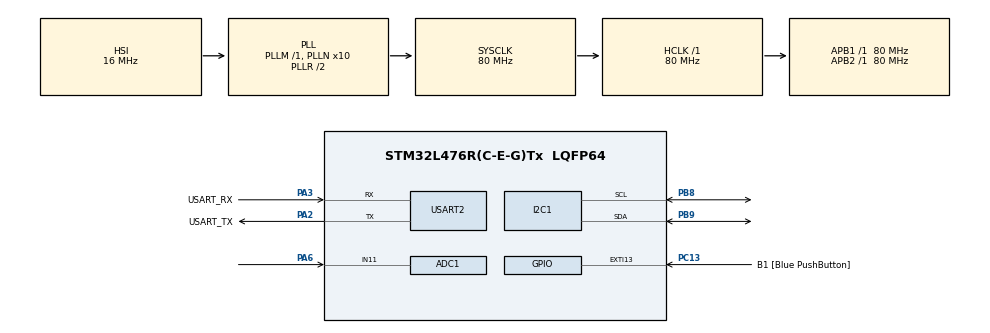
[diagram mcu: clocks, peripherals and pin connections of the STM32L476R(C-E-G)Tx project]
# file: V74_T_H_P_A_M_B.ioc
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ADC1.Channel-0\#ChannelRegularConversion=ADC_CHANNEL_11
ADC1.ContinuousConvMode=ENABLE
ADC1.NbrOfConversion=1
ADC1.NbrOfConversionFlag=1
ADC1.OffsetNumber-0\#ChannelRegularConversion=ADC_OFFSET_NONE
ADC1.Rank-0\#ChannelRegularConversion=1
ADC1.SamplingTime-0\#ChannelRegularConversion=ADC_SAMPLETIME_2CYCLES_5
ADC1.master=1
Mcu.Family=STM32L4
Mcu.Name=STM32L476R(C-E-G)Tx
Mcu.Package=LQFP64
NVIC.ADC1_2_IRQn=true\:0\:0\:false\:false\:true\:true
NVIC.I2C1_ER_IRQn=true\:0\:0\:false\:false\:true\:true
NVIC.I2C1_EV_IRQn=true\:0\:0\:false\:false\:true\:true
NVIC.PriorityGroup=NVIC_PRIORITYGROUP_4
NVIC.TIM3_IRQn=true\:0\:0\:false\:false\:true\:true
PA13\ (JTMS-SWDIO).GPIO_Label=TMS
PA13\ (JTMS-SWDIO).Mode=Trace_Asynchronous_SW
PA13\ (JTMS-SWDIO).Signal=SYS_JTMS-SWDIO
PA14\ (JTCK-SWCLK).GPIO_Label=TCK
PA14\ (JTCK-SWCLK).Mode=Trace_Asynchronous_SW
PA14\ (JTCK-SWCLK).Signal=SYS_JTCK-SWCLK
PA2.GPIO_Label=USART_TX
PA2.GPIO_Mode=GPIO_MODE_AF_PP
PA2.GPIO_PuPd=GPIO_NOPULL
PA2.GPIO_Speed=GPIO_SPEED_FREQ_VERY_HIGH
PA2.Mode=Asynchronous
PA2.Signal=USART2_TX
PA3.GPIO_Label=USART_RX
PA3.GPIO_Mode=GPIO_MODE_AF_PP
PA3.GPIO_PuPd=GPIO_NOPULL
PA3.GPIO_Speed=GPIO_SPEED_FREQ_VERY_HIGH
PA3.Mode=Asynchronous
PA3.Signal=USART2_RX
PA6.Signal=ADCx_IN11
PB3\ (JTDO-TRACESWO).Mode=Trace_Asynchronous_SW
PB3\ (JTDO-TRACESWO).Signal=SYS_JTDO-SWO
PB8.Mode=I2C
PB8.Signal=I2C1_SCL
PB9.Mode=I2C
PB9.Signal=I2C1_SDA
PC13.GPIO_Label=B1 [Blue PushButton]
PC13.GPIO_ModeDefaultEXTI=GPIO_MODE_IT_FALLING
PC13.GPIO_PuPd=GPIO_NOPULL
PC13.Signal=GPXTI13
PC14-OSC32_IN\ (PC14).Mode=LSE-External-Oscillator
PC14-OSC32_IN\ (PC14).Signal=RCC_OSC32_IN
PC15-OSC32_OUT\ (PC15).Mode=LSE-External-Oscillator
PC15-OSC32_OUT\ (PC15).Signal=RCC_OSC32_OUT
PH0-OSC_IN\ (PH0).Signal=RCC_OSC_IN
PH1-OSC_OUT\ (PH1).Signal=RCC_OSC_OUT
ProjectManager.HeapSize=0x200
ProjectManager.StackSize=0x400
ProjectManager.TargetToolchain=TrueSTUDIO
RCC.ADCFreq_Value=64000000
RCC.AHBFreq_Value=80000000
RCC.APB1Freq_Value=80000000
RCC.APB1TimFreq_Value=80000000
RCC.APB2Freq_Value=80000000
RCC.APB2TimFreq_Value=80000000
RCC.CortexFreq_Value=80000000
RCC.HCLKFreq_Value=80000000
RCC.HSE_VALUE=8000000
RCC.HSI_VALUE=16000000
RCC.MSI_VALUE=4000000
RCC.PLLN=10
RCC.PLLSourceVirtual=RCC_PLLSOURCE_HSI
RCC.PREFETCH_ENABLE=1
RCC.SYSCLKFreq_VALUE=80000000
RCC.SYSCLKSource=RCC_SYSCLKSOURCE_PLLCLK
RCC.USBFreq_Value=64000000
RCC.VCOOutputFreq_Value=160000000
SH.ADCx_IN11.0=ADC1_IN11,IN11-Single-Ended
TIM3.Period=1000
TIM3.Prescaler=63999
USART2.VirtualMode-Asynchronous=VM_ASYNC
VP_TIM3_VS_ClockSourceINT.Mode=Internal
board=NUCLEO-L476RG

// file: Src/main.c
/* USER CODE BEGIN Header */
/**
  ******************************************************************************
  * @file           : main.c
  * @brief          : Main program body
  *
  *		A TESTER
  * 	PIN PA6 receive tension of battery be careful : 5V max !
  *
  *	    printf : run debug SWV
  * 	Useful with putty; check COM put sérial num COM & give name au pif in saved sessions, flow control:no; go in serial -> choose COM & baud come back init save
  *	    printf
  *
  *	    add IKSO1A2 : Temperature Humidity Pressure Accelerometer Magnetometer
  *
  *	    Print all 5 secs :
  *	    Sensors
  *	    ----------------------------
  *		SENSOR Gaz : 3570
  *		Temperature :241
  *		Humidity :47
  *		Pressure :1028
  *		----------------------------
  *
  ******************************************************************************
  ** This notice applies to any and all portions of this file
  * that are not between comment pairs USER CODE BEGIN and
  * USER CODE END. Other portions of this file, whether
  * inserted by the user or by software development tools
  * are owned by their respective copyright owners.
  *
  * COPYRIGHT(c) 2019 STMicroelectronics
  *
  * Redistribution and use in source and binary forms, with or without modification,
  * are permitted provided that the following conditions are met:
  *   1. Redistributions of source code must retain the above copyright notice,
  *      this list of conditions and the following disclaimer.
  *   2. Redistributions in binary form must reproduce the above copyright notice,
  *      this list of conditions and the following disclaimer in the documentation
  *      and/or other materials provided with the distribution.
  *   3. Neither the name of STMicroelectronics nor the names of its contributors
  *      may be used to endorse or promote products derived from this software
  *      without specific prior written permission.
  *
  * THIS SOFTWARE IS PROVIDED BY THE COPYRIGHT HOLDERS AND CONTRIBUTORS "AS IS"
  * AND ANY EXPRESS OR IMPLIED WARRANTIES, INCLUDING, BUT NOT LIMITED TO, THE
  * IMPLIED WARRANTIES OF MERCHANTABILITY AND FITNESS FOR A PARTICULAR PURPOSE ARE
  * DISCLAIMED. IN NO EVENT SHALL THE COPYRIGHT HOLDER OR CONTRIBUTORS BE LIABLE
  * FOR ANY DIRECT, INDIRECT, INCIDENTAL, SPECIAL, EXEMPLARY, OR CONSEQUENTIAL
  * DAMAGES (INCLUDING, BUT NOT LIMITED TO, PROCUREMENT OF SUBSTITUTE GOODS OR
  * SERVICES; LOSS OF USE, DATA, OR PROFITS; OR BUSINESS INTERRUPTION) HOWEVER
  * CAUSED AND ON ANY THEORY OF LIABILITY, WHETHER IN CONTRACT, STRICT LIABILITY,
  * OR TORT (INCLUDING NEGLIGENCE OR OTHERWISE) ARISING IN ANY WAY OUT OF THE USE
  * OF THIS SOFTWARE, EVEN IF ADVISED OF THE POSSIBILITY OF SUCH DAMAGE.
  *
  ******************************************************************************
  */
/* USER CODE END Header */

#include "main.h"
#include "adc.h"
#include "i2c.h"
#include "tim.h"
#include "usart.h"
#include "gpio.h"

/* USER CODE BEGIN Includes */
#include <stdio.h>
#include <inttypes.h>
#include <math.h>
/* USER CODE END Includes */

/* USER CODE BEGIN PD */
#define I2C_TIMEOUT 1000
/* USER CODE END PD */

/* USER CODE BEGIN PV */
//ADC for battery
static  float ADC_battery =0;
//I2C
uint8_t sub_addr_who_am_i[1]={0x0F}; //Who AM I
uint8_t who_am_i[1]={0x00};

//TEMPERATURE/////////////////////////////////////////////////////////////////////////////////////////////////////

uint8_t addr_T0_degC_x8[1]={0x32};
uint8_t addr_T1_degC_x8[1]={0x33};
uint8_t T0_degC_x8[1];
uint8_t T1_degC_x8[1];
uint16_t T0_degC_DIV8[1];
uint16_t T1_degC_DIV8[1];
uint16_t T0_degC[1];
uint16_t T1_degC[1];

uint8_t addr_T0_T1_msb[1]={0x35};
uint8_t T0_T1_msb[1];
uint8_t T0_msb[1];
uint8_t T1_msb[1];

uint8_t addr_T0_H[1]={0x3D};
uint8_t addr_T0_L[1]={0x3C};
uint8_t T0_H[1];
uint8_t T0_L[1];

uint8_t addr_T1_H[1]={0x3F};
uint8_t addr_T1_L[1]={0x3E};
uint8_t T1_H[1];
uint8_t T1_L[1];

uint8_t addr_T_OUT_H[1]={0x2B};
uint8_t addr_T_OUT_L[1]={0x2A};
uint8_t T_OUT_H[1];
uint8_t T_OUT_L[1];

uint16_t T0_OUT[1];
uint16_t T1_OUT[1];
uint16_t T_OUT[1];

uint8_t addr_CTRL_REG1_TEMP[1]={0x20};
uint8_t CTRL_REG1_TEMP[1]={0x83};

uint16_t temp16[1];

//HUMIDITY////////////////////////////////////////////////////////////////////////////////////////////////////////

uint8_t addr_HUM_H[1]={0x29};
uint8_t addr_HUM_L[1]={0x28};
uint8_t HUM_H[1];
uint8_t HUM_L[1];

uint8_t addr_H0_rH_x2[1]={0x30};
uint8_t addr_H1_rH_x2[1]={0x31};
uint8_t H0_rH_x2[1];
uint8_t H1_rH_x2[1];

uint8_t addr_H0_T0_OUT_L[1]={0x36};
uint8_t addr_H0_T0_OUT_H[1]={0x37};
uint8_t H0_T0_OUT_L[1];
uint8_t H0_T0_OUT_H[1];

uint8_t addr_H1_T0_OUT_L[1]={0x3A};
uint8_t addr_H1_T0_OUT_H[1]={0x3B};
uint8_t H1_T0_OUT_L[1];
uint8_t H1_T0_OUT_H[1];

uint16_t H0_rH[1];
uint16_t H1_rH[1];
uint16_t H0[1];
uint16_t H1[1];
uint16_t H_OUT[1];

uint16_t hum16[1];

//PRESSURE/////////////////////////////////////////////////////////////////////////////////////////////////////////

uint8_t addr_PRES_OUT_XL[1]={0x28};
uint8_t addr_PRES_OUT_L[1]={0x29};
uint8_t addr_PRES_OUT_H[1]={0x2A};

uint8_t addr_REF_P_XL[1]={0x15};
uint8_t addr_REF_P_L[1]={0x16};
uint8_t addr_REF_P_H[1]={0x17};

uint8_t PRES_OUT_XL[1];
uint8_t PRES_OUT_L[1];
uint8_t PRES_OUT_H[1];

uint8_t REF_P_XL[1];
uint8_t REF_P_L[1];
uint8_t REF_P_H[1];

uint32_t PRES_x4096[1];
uint32_t REF_P_x4096[1];

uint8_t addr_CTRL_REG1_PRES[1]={0x10};
uint8_t CTRL_REG1_PRES[1]={0x50};

uint8_t addr_CTRL_REG2_PRES[1]={0x11};
uint8_t CTRL_REG2_PRES[1]={0x01};

uint8_t addr_INTERRUPT_CFG[1]={0x0B};
uint8_t INTERRUPT_CFG[1]={0x30};

uint32_t pres32[1];

//MAGNETOMETER//////////////////////////////////////////////////////////////////////////////////////////////////////////

uint8_t addr_CFG_REG_A_M[1]={0x60};
uint8_t CFG_REG_A_M[1]={0x0C};

uint8_t addr_OUTX_L_REG_M[1]={0x68};
uint8_t addr_OUTX_H_REG_M[1]={0x69};
uint8_t addr_OUTY_L_REG_M[1]={0x6A};
uint8_t addr_OUTY_H_REG_M[1]={0x6B};
uint8_t addr_OUTZ_L_REG_M[1]={0x6C};
uint8_t addr_OUTZ_H_REG_M[1]={0x6D};

uint8_t OUTX_L_REG_M[1];
uint8_t OUTX_H_REG_M[1];
uint8_t OUTY_L_REG_M[1];
uint8_t OUTY_H_REG_M[1];
uint8_t OUTZ_L_REG_M[1];
uint8_t OUTZ_H_REG_M[1];

uint16_t magnX16[1];
uint16_t magnY16[1];
uint16_t magnZ16[1];

uint16_t magn16[1];

//ACCELEROMETER/////////////////////////////////////////////////////////////////////////////////////////////////////

uint8_t addr_CTRL_REG1_ACCEL[1]={0x20};
uint8_t CTRL_REG1_ACCEL[1]={0x97};

uint8_t addr_X_LI_L[1]={0x28};
uint8_t addr_X_LI_H[1]={0x29};
uint8_t addr_Y_LI_L[1]={0x2A};
uint8_t addr_Y_LI_H[1]={0x2B};
uint8_t addr_Z_LI_L[2]={0x2C};
uint8_t addr_Z_LI_H[2]={0x2D};

uint8_t X_LI_L[1];
uint8_t X_LI_H[1];
uint8_t Y_LI_L[1];
uint8_t Y_LI_H[1];
uint8_t Z_LI_L[1];
uint8_t Z_LI_H[1];

uint16_t accelX16[1];
uint16_t accelY16[1];
uint16_t accelZ16[1];

uint8_t cpt=0;
/* USER CODE END PV */

void SystemClock_Config(void);
/* USER CODE BEGIN PFP */
//ADC avec TIM3
void ADC_Init(void); //Read ADC
//I2C
uint16_t est_negatif(uint16_t valeur);
uint16_t concatenate(uint8_t valeur_H, uint8_t valeur_L);
uint16_t div8(uint16_t valeur);
uint16_t div2(uint16_t valeur);
void Who_am_i(void); //Send who_am_i data; must send
void Register(void); //Update data for temperature and humidity
void temperature_IKSO1A2(void);//give temperature in celcius
void humidity_IKSO1A2(void);//give humidity in percentage
void pressure_IKSO1A2(void);//give pressure in bar
void INIT_MAGNETO_LSM6DSL(void);
void MAGNETO_LSM6DSL(void);//give magnetic atmosphere
void INIT_ACCELERO_LSM6DSL(void);
void ACCELERO_LSM6DSL(void);//give accelerometer data
void READ_BATTERY_VOLTAGE(void);//give value of battery voltage
//void MX_ADC1_CH_11_Init(void);
/* USER CODE END PFP */

int main(void)
{

  /* MCU Configuration--------------------------------------------------------*/

  /* Reset of all peripherals, Initializes the Flash interface and the Systick. */
  HAL_Init();

  /* Configure the system clock */
  SystemClock_Config();

  /* Initialize all configured peripherals */
  MX_GPIO_Init();
  MX_USART2_UART_Init();
  MX_ADC1_Init();
  MX_TIM3_Init();
  MX_I2C1_Init();
  /* USER CODE BEGIN 2 */
  printf("\033[2J\033[1;1H"); //Affiche seulement les nouvelles valeurs à virer pour le final
  printf("Sensors\r\n");
  Register();
  ADC_Init();
  HAL_TIM_Base_Start_IT(&htim3);//Donne base temps -> tous les 5 sec
  /* USER CODE END 2 */

  /* Infinite loop */
  while (1)
  {

  }
}

void SystemClock_Config(void)
{
  RCC_OscInitTypeDef RCC_OscInitStruct = {0};
  RCC_ClkInitTypeDef RCC_ClkInitStruct = {0};
  RCC_PeriphCLKInitTypeDef PeriphClkInit = {0};

  /**Initializes the CPU, AHB and APB busses clocks
  */
  RCC_OscInitStruct.OscillatorType = RCC_OSCILLATORTYPE_HSI;
  RCC_OscInitStruct.HSIState = RCC_HSI_ON;
  RCC_OscInitStruct.HSICalibrationValue = RCC_HSICALIBRATION_DEFAULT;
  RCC_OscInitStruct.PLL.PLLState = RCC_PLL_ON;
  RCC_OscInitStruct.PLL.PLLSource = RCC_PLLSOURCE_HSI;
  RCC_OscInitStruct.PLL.PLLM = 1;
  RCC_OscInitStruct.PLL.PLLN = 10;
  RCC_OscInitStruct.PLL.PLLP = RCC_PLLP_DIV7;
  RCC_OscInitStruct.PLL.PLLQ = RCC_PLLQ_DIV2;
  RCC_OscInitStruct.PLL.PLLR = RCC_PLLR_DIV2;
  if (HAL_RCC_OscConfig(&RCC_OscInitStruct) != HAL_OK)
  {
    Error_Handler();
  }
  /**Initializes the CPU, AHB and APB busses clocks
  */
  RCC_ClkInitStruct.ClockType = RCC_CLOCKTYPE_HCLK|RCC_CLOCKTYPE_SYSCLK
                              |RCC_CLOCKTYPE_PCLK1|RCC_CLOCKTYPE_PCLK2;
  RCC_ClkInitStruct.SYSCLKSource = RCC_SYSCLKSOURCE_PLLCLK;
  RCC_ClkInitStruct.AHBCLKDivider = RCC_SYSCLK_DIV1;
  RCC_ClkInitStruct.APB1CLKDivider = RCC_HCLK_DIV1;
  RCC_ClkInitStruct.APB2CLKDivider = RCC_HCLK_DIV1;

  if (HAL_RCC_ClockConfig(&RCC_ClkInitStruct, FLASH_LATENCY_4) != HAL_OK)
  {
    Error_Handler();
  }
  PeriphClkInit.PeriphClockSelection = RCC_PERIPHCLK_USART2|RCC_PERIPHCLK_I2C1
                              |RCC_PERIPHCLK_ADC;
  PeriphClkInit.Usart2ClockSelection = RCC_USART2CLKSOURCE_PCLK1;
  PeriphClkInit.I2c1ClockSelection = RCC_I2C1CLKSOURCE_PCLK1;
  PeriphClkInit.AdcClockSelection = RCC_ADCCLKSOURCE_PLLSAI1;
  PeriphClkInit.PLLSAI1.PLLSAI1Source = RCC_PLLSOURCE_HSI;
  PeriphClkInit.PLLSAI1.PLLSAI1M = 1;
  PeriphClkInit.PLLSAI1.PLLSAI1N = 8;
  PeriphClkInit.PLLSAI1.PLLSAI1P = RCC_PLLP_DIV7;
  PeriphClkInit.PLLSAI1.PLLSAI1Q = RCC_PLLQ_DIV2;
  PeriphClkInit.PLLSAI1.PLLSAI1R = RCC_PLLR_DIV2;
  PeriphClkInit.PLLSAI1.PLLSAI1ClockOut = RCC_PLLSAI1_ADC1CLK;
  if (HAL_RCCEx_PeriphCLKConfig(&PeriphClkInit) != HAL_OK)
  {
    Error_Handler();
  }
  /**Configure the main internal regulator output voltage
  */
  if (HAL_PWREx_ControlVoltageScaling(PWR_REGULATOR_VOLTAGE_SCALE1) != HAL_OK)
  {
    Error_Handler();
  }
}

/* USER CODE BEGIN 4 */

//printf
int _write(int file,char *ptr, int len)
{
    HAL_UART_Transmit(&huart2,(uint8_t *)ptr,len,10);
    return len;
}
void HAL_ADC_ConvCpltCallback(ADC_HandleTypeDef* AdcHandle) //Récupérer la valeur de l'ADC une fois l’IT acquittée
{

	ADC_battery = HAL_ADC_GetValue(AdcHandle);
	READ_BATTERY_VOLTAGE();
	temperature_IKSO1A2();
	humidity_IKSO1A2();
	pressure_IKSO1A2();
	printf("----------------------------\r\n");
	cpt++;

}
void HAL_TIM_PeriodElapsedCallback(TIM_HandleTypeDef *htim)
{
	HAL_ADC_Start_IT(&hadc1);

}
void ADC_Init() //Lancer l'ADC
{
	if (HAL_ADC_Start_IT(&hadc1)!= HAL_OK)
	{
		Error_Handler();
	}
}
void READ_BATTERY_VOLTAGE()
{
	ADC_battery= floor(10*(ADC_battery/558.7f) +0.5)/10 ;//conversion au dixieme près : 5V->2821 valeur sortie
	printf("Voltage : %f\r\n", ADC_battery);
}
//I2C
uint16_t est_negatif(uint16_t valeur){
if (valeur>=0x8000){
		valeur=~valeur+1;
	}
return valeur;
}

uint16_t concatenate(uint8_t valeur_H, uint8_t valeur_L){
	uint16_t valeur = (valeur_H<<8) + valeur_L;
	return valeur;
}

uint16_t div8(uint16_t valeur){
	uint16_t result = (valeur>>3);
	return result;
}

uint16_t div2(uint16_t valeur){
	uint16_t result = (valeur>>1);
	return result;
}
void Who_am_i()
{
	  HAL_I2C_Mem_Read(&hi2c1,0xBF, sub_addr_who_am_i[0], 1, who_am_i, 1, I2C_TIMEOUT);
	  printf("Who AM I : %d", who_am_i[0]);
}
void Register()
{
	//Temperature & humidity
	HAL_I2C_Mem_Write(&hi2c1,0xBE, addr_CTRL_REG1_TEMP[0], 1, CTRL_REG1_TEMP, 1, I2C_TIMEOUT);
	//PRESSURE
	HAL_I2C_Mem_Write(&hi2c1,0xBA, addr_CTRL_REG1_PRES[0], 1, CTRL_REG1_PRES, 1, I2C_TIMEOUT);

	HAL_I2C_Mem_Write(&hi2c1,0xBA, addr_CTRL_REG2_PRES[0], 1, CTRL_REG2_PRES, 1, I2C_TIMEOUT);

	HAL_I2C_Mem_Write(&hi2c1,0xBA, addr_INTERRUPT_CFG[0], 1, INTERRUPT_CFG, 1, I2C_TIMEOUT);

}
//Temperature
void temperature_IKSO1A2()
{
		HAL_I2C_Mem_Read(&hi2c1,0xBF, addr_T0_degC_x8[0], 1, T0_degC_x8, 1, I2C_TIMEOUT);
		HAL_I2C_Mem_Read(&hi2c1,0xBF, addr_T1_degC_x8[0], 1, T1_degC_x8, 1, I2C_TIMEOUT);
		HAL_I2C_Mem_Read(&hi2c1,0xBF, addr_T0_T1_msb[0], 1, T0_T1_msb, 1, I2C_TIMEOUT);
		HAL_I2C_Mem_Read(&hi2c1,0xBF, addr_T0_H[0], 1, T0_H, 1, I2C_TIMEOUT);
		HAL_I2C_Mem_Read(&hi2c1,0xBF, addr_T0_H[0], 1, T0_H, 1, I2C_TIMEOUT);
		HAL_I2C_Mem_Read(&hi2c1,0xBF, addr_T0_L[0], 1, T0_L, 1, I2C_TIMEOUT);
		HAL_I2C_Mem_Read(&hi2c1,0xBF, addr_T1_H[0], 1, T1_H, 1, I2C_TIMEOUT);
		HAL_I2C_Mem_Read(&hi2c1,0xBF, addr_T1_L[0], 1, T1_L, 1, I2C_TIMEOUT);
		HAL_I2C_Mem_Read(&hi2c1,0xBF, addr_T_OUT_H[0], 1, T_OUT_H, 1, I2C_TIMEOUT);
		HAL_I2C_Mem_Read(&hi2c1,0xBF, addr_T_OUT_L[0], 1, T_OUT_L, 1, I2C_TIMEOUT);
		HAL_I2C_Mem_Read(&hi2c1,0xBF, addr_T_OUT_L[0], 1, T_OUT_L, 1, I2C_TIMEOUT);

		//CONCATENATION
		T0_OUT[0]	= (T0_H[0]<<8) + T0_L[0];
		T1_OUT[0]	= (T1_H[0]<<8) + T1_L[0];
		T_OUT[0]	= (T_OUT_H[0]<<8) + T_OUT_L[0];

		//GESTION VALEURS NEGATIVES
		est_negatif(T0_OUT[0]);
		est_negatif(T1_OUT[0]);
		est_negatif(T_OUT[0]);

		//CALCUL DES T0_degC ET T1_degC FINALES
		T0_msb[0]		= T0_T1_msb[0] & 0x3;
		T1_msb[0]		= (T0_T1_msb[0] & 0xC)>>2;
		T0_degC[0] 		= (T0_msb[0]<<8) + T0_degC_x8[0];
		T1_degC[0] 		= (T1_msb[0]<<8) + T1_degC_x8[0];
		T0_degC_DIV8[0]	= T0_degC[0]>>3;
		T1_degC_DIV8[0]	= T1_degC[0]>>3;

		//CALCUL DE LA TEMPERATURE
		temp16[0] = ((int16_t)(T_OUT[0]-T0_OUT[0]))*10*((int16_t)(T1_degC_DIV8[0]-T0_degC_DIV8[0]))/((int16_t)(T1_OUT[0]-T0_OUT[0]))+(int16_t)(T0_degC_DIV8[0])*10;
		printf("Temperature :%d\r\n", temp16[0]);
}
//Humidity
void humidity_IKSO1A2()
{
	    HAL_I2C_Mem_Read(&hi2c1,0xBF, addr_HUM_H[0], 1, HUM_H, 1, I2C_TIMEOUT);
		HAL_I2C_Mem_Read(&hi2c1,0xBF, addr_HUM_L[0], 1, HUM_L, 1, I2C_TIMEOUT);
		HAL_I2C_Mem_Read(&hi2c1,0xBF, addr_H0_rH_x2[0], 1, H0_rH_x2, 1, I2C_TIMEOUT);
		HAL_I2C_Mem_Read(&hi2c1,0xBF, addr_H1_rH_x2[0], 1, H0_rH_x2, 1, I2C_TIMEOUT);
		HAL_I2C_Mem_Read(&hi2c1,0xBF, addr_H0_T0_OUT_H[0], 1, H0_T0_OUT_H, 1, I2C_TIMEOUT);
		HAL_I2C_Mem_Read(&hi2c1,0xBF, addr_H0_T0_OUT_L[0], 1, H0_T0_OUT_L, 1, I2C_TIMEOUT);
		HAL_I2C_Mem_Read(&hi2c1,0xBF, addr_H1_T0_OUT_H[0], 1, H1_T0_OUT_H, 1, I2C_TIMEOUT);
		HAL_I2C_Mem_Read(&hi2c1,0xBF, addr_H1_T0_OUT_L[0], 1, H1_T0_OUT_L, 1, I2C_TIMEOUT);

		H0_rH[0]	= H0_rH_x2[0]>>1;
		H1_rH[0]	= H1_rH_x2[0]>>1;

		H0[0]		= (H0_T0_OUT_H[0]<<8) + H0_T0_OUT_L[0];
		H1[0]		= (H1_T0_OUT_H[0]<<8) + H1_T0_OUT_L[0];
		H_OUT[0]	= (HUM_H[0]<<8) + HUM_L[0];

		//CALCUL DE L'HUMIDITE
		hum16[0] = ((int16_t)(H1_rH[0]-H0_rH[0]))*((int16_t)(H_OUT[0]-H0[0]))/((int16_t)(H1[0]-H0[0]))+(int16_t)(H0_rH[0]);
		printf("Humidity :%d\r\n", hum16[0]);
}
//PRESSURE
void pressure_IKSO1A2()
{
	    HAL_I2C_Mem_Read(&hi2c1,0xBB, addr_REF_P_XL[0], 1, REF_P_XL, 1, I2C_TIMEOUT);
		HAL_I2C_Mem_Read(&hi2c1,0xBB, addr_REF_P_L[0], 1, REF_P_L, 1, I2C_TIMEOUT);
		HAL_I2C_Mem_Read(&hi2c1,0xBB, addr_REF_P_H[0], 1, REF_P_H, 1, I2C_TIMEOUT);
		HAL_I2C_Mem_Read(&hi2c1,0xBB, addr_PRES_OUT_XL[0], 1, PRES_OUT_XL, 1, I2C_TIMEOUT);
		HAL_I2C_Mem_Read(&hi2c1,0xBB, addr_PRES_OUT_L[0], 1, PRES_OUT_L, 1, I2C_TIMEOUT);
		HAL_I2C_Mem_Read(&hi2c1,0xBB, addr_PRES_OUT_H[0], 1, PRES_OUT_H, 1, I2C_TIMEOUT);

		//CONCATENATION

		PRES_x4096[0]	= (PRES_OUT_H[0]<<16) + (PRES_OUT_L[0]<<8) + PRES_OUT_XL[0];
		REF_P_x4096[0]	= (REF_P_H[0]<<16) + (REF_P_L[0]<<8) + REF_P_XL[0];

		//CALCUL DE LA PRESSION
		pres32[0] = (REF_P_x4096[0])>>12;
		printf("Pressure :%"PRIu32"\r\n", pres32[0]);
}
//MAGNETO
void INIT_MAGNETO_LSM6DSL()
{
	HAL_I2C_Mem_Write(&hi2c1,0x3C, addr_CFG_REG_A_M[0], 1, CFG_REG_A_M, 1, I2C_TIMEOUT);
}
void MAGNETO_LSM6DSL()
{
		HAL_I2C_Mem_Read(&hi2c1,0x3D, addr_OUTX_L_REG_M[0], 1, OUTX_L_REG_M, 1, I2C_TIMEOUT);
		HAL_I2C_Mem_Read(&hi2c1,0x3D, addr_OUTX_H_REG_M[0], 1, OUTX_H_REG_M, 1, I2C_TIMEOUT);
		HAL_I2C_Mem_Read(&hi2c1,0x3D, addr_OUTY_L_REG_M[0], 1, OUTY_L_REG_M, 1, I2C_TIMEOUT);
		HAL_I2C_Mem_Read(&hi2c1,0x3D, addr_OUTY_H_REG_M[0], 1, OUTY_H_REG_M, 1, I2C_TIMEOUT);
		HAL_I2C_Mem_Read(&hi2c1,0x3D, addr_OUTZ_L_REG_M[0], 1, OUTZ_L_REG_M, 1, I2C_TIMEOUT);
		HAL_I2C_Mem_Read(&hi2c1,0x3D, addr_OUTZ_H_REG_M[0], 1, OUTZ_H_REG_M, 1, I2C_TIMEOUT);

		//CONCATENATION
		magnX16[0] = (OUTX_H_REG_M[0]<<8) + OUTX_L_REG_M[0];
		magnY16[0] = (OUTY_H_REG_M[0]<<8) + OUTY_L_REG_M[0];
		magnZ16[0] = (OUTZ_H_REG_M[0]<<8) + OUTZ_L_REG_M[0];

		//GESTION VALEURS NEGATIVES
		magnX16[0]	= est_negatif(magnX16[0]);
		magnY16[0]	= est_negatif(magnY16[0]);
		magnZ16[0]	= est_negatif(magnZ16[0]);

		magn16[0]	= ((magnX16[0]^2) + (magnY16[0]^2) + (magnZ16[0]^2))^(1/2);
}
//ACCELEROMETER
void INIT_ACCELERO_LSM6DSL()
{
	HAL_I2C_Mem_Write(&hi2c1,0x32, addr_CTRL_REG1_ACCEL[0], 1, CTRL_REG1_ACCEL, 1, I2C_TIMEOUT);
}
void ACCELERO_LSM6DSL()
{
	HAL_I2C_Mem_Read(&hi2c1,0x33, addr_X_LI_L[0], 1, X_LI_L, 1, I2C_TIMEOUT);
	HAL_I2C_Mem_Read(&hi2c1,0x33, addr_X_LI_H[0], 1, X_LI_H, 1, I2C_TIMEOUT);
	HAL_I2C_Mem_Read(&hi2c1,0x33, addr_Y_LI_L[0], 1, Y_LI_L, 1, I2C_TIMEOUT);
	HAL_I2C_Mem_Read(&hi2c1,0x33, addr_Y_LI_H[0], 1, Y_LI_H, 1, I2C_TIMEOUT);
	HAL_I2C_Mem_Read(&hi2c1,0x33, addr_Z_LI_L[0], 1, Z_LI_L, 1, I2C_TIMEOUT);
	HAL_I2C_Mem_Read(&hi2c1,0x33, addr_Z_LI_H[0], 1, Z_LI_H, 1, I2C_TIMEOUT);

	accelX16[0] = (X_LI_H[0]<<8) + X_LI_L[0];
	accelY16[0] = (Y_LI_H[0]<<8) + Y_LI_L[0];
	accelZ16[0] = (Z_LI_H[0]<<8) + Z_LI_L[0];

	accelX16[0] = est_negatif(accelX16[0]);
	accelY16[0] = est_negatif(accelY16[0]);
	accelZ16[0] = est_negatif(accelZ16[0]);
}

/* USER CODE END 4 */

void Error_Handler(void)
{
}

/************************ (C) COPYRIGHT STMicroelectronics *****END OF FILE****/
